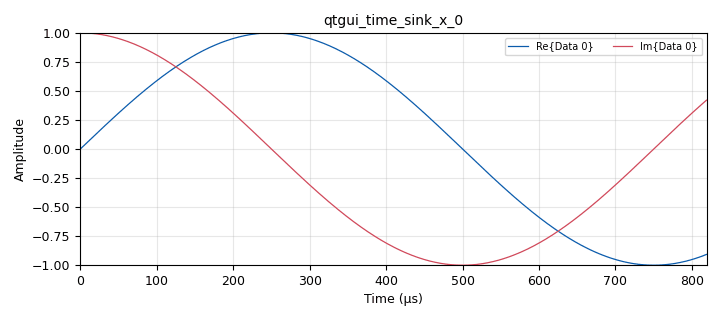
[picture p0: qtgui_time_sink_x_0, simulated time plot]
options:
  parameters:
    generate_options: qt_gui
    id: udp_tx_gnuradio
    output_language: python
    title: Not titled yet
  states: {}

blocks:
- name: samp_rate
  id: variable
  parameters:
    value: 10e6
  states: {}
- name: analog_sig_source_x_0
  id: analog_sig_source_x
  parameters:
    amp: '1'
    freq: '1000'
    offset: '0'
    phase: '0'
    samp_rate: samp_rate
    type: float
    waveform: analog.GR_SIN_WAVE
  states: {}
- name: analog_sig_source_x_0_0
  id: analog_sig_source_x
  parameters:
    amp: '1'
    freq: '1000'
    offset: '0'
    phase: '0'
    samp_rate: samp_rate
    type: float
    waveform: analog.GR_COS_WAVE
  states: {}
- name: blocks_float_to_complex_0
  id: blocks_float_to_complex
  parameters: {}
  states: {}
- name: network_udp_sink_0
  id: network_udp_sink
  parameters:
    addr: 127.0.0.1
    header: '0'
    payloadsize: '8000'
    port: '8080'
    send_eof: 'False'
    type: complex
  states: {}
- name: network_udp_source_0
  id: network_udp_source
  parameters:
    header: '0'
    ipv6: 'False'
    notify_missed: 'False'
    payloadsize: '800'
    port: '8081'
    src_zeros: 'False'
    type: complex
  states: {}
- name: qtgui_time_sink_x_0
  id: qtgui_time_sink_x
  parameters:
    size: '8192'
    srate: samp_rate
    tr_mode: qtgui.TRIG_MODE_AUTO
    type: complex
  states: {}
- name: qtgui_time_sink_x_0_0
  id: qtgui_time_sink_x
  parameters:
    size: '8192'
    srate: samp_rate
    tr_mode: qtgui.TRIG_MODE_AUTO
    type: complex
  states: {}

connections:
- [analog_sig_source_x_0, '0', blocks_float_to_complex_0, '0']
- [analog_sig_source_x_0_0, '0', blocks_float_to_complex_0, '1']
- [blocks_float_to_complex_0, '0', network_udp_sink_0, '0']
- [blocks_float_to_complex_0, '0', qtgui_time_sink_x_0, '0']
- [network_udp_source_0, '0', qtgui_time_sink_x_0_0, '0']

metadata:
  file_format: 1
  grc_version: 3.10.10.0
